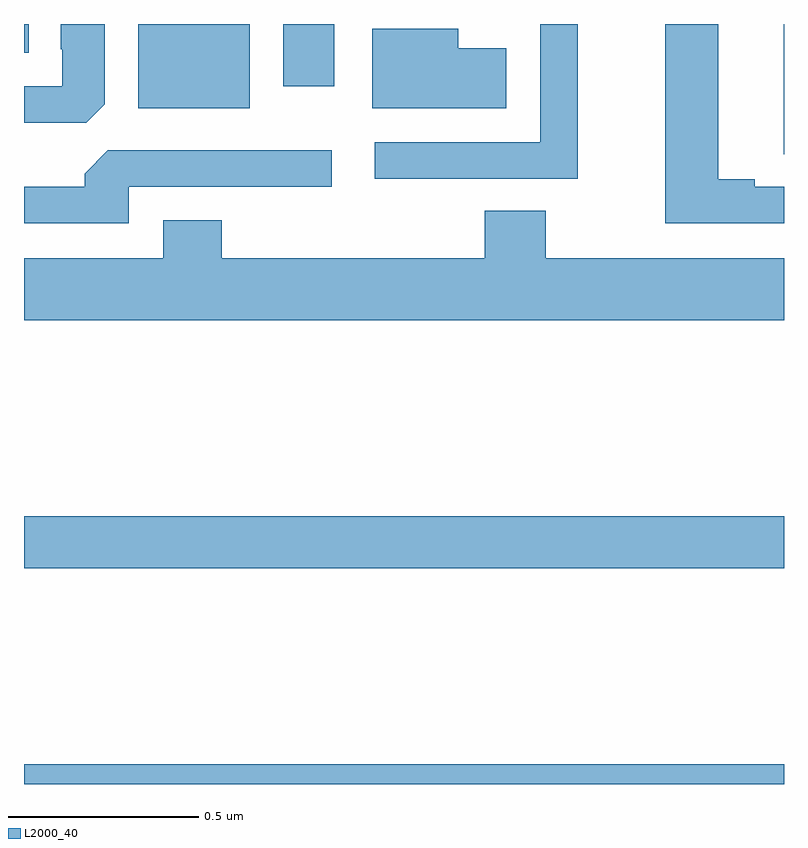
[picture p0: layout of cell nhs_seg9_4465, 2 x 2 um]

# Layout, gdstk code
import gdstk
lib = gdstk.Library(unit=1e-6, precision=1e-09)
def R(c, l, rs):  # rectangles x0, y0, x1, y1
    for r in rs: c.add(gdstk.rectangle(r[:2], r[2:], *l))
def P(c, l, *ps):  # polygons
    for p in ps: c.add(gdstk.Polygon(p, *l))
L2000_40 = (2000, 40)

nhs_seg9_4465 = lib.new_cell('nhs_seg9_4465')
R(nhs_seg9_4465, L2000_40, [(166,1228.5,168,1228.552), (166,1229.068,168,1229.204), (167.999,1230.157,168,1230.5), (166.301,1230.278,166.594,1230.5), (166.682,1230.336,166.816,1230.5), (166,1230.425,166.012,1230.5)])
P(nhs_seg9_4465, L2000_40, [(168,1230.072),(167.923,1230.072),(167.923,1230.092),(167.827,1230.092),(167.827,1230.5),(167.687,1230.5),(167.687,1229.976),(168,1229.976)],
  [(166.213,1230.289),(166.213,1230.5),(166.097,1230.5),(166.097,1230.433),(166.101,1230.433),(166.101,1230.336),(166,1230.336),(166,1230.24),(166.164,1230.24)],
  [(167.457,1230.5),(167.358,1230.5),(167.358,1230.189),(166.923,1230.189),(166.923,1230.093),(167.457,1230.093)],
  [(167.269,1230.436),(167.143,1230.436),(167.143,1230.487),(166.916,1230.487),(166.916,1230.278),(167.269,1230.278)],
  [(166.275,1230.072),(166.81,1230.072),(166.81,1230.168),(166.221,1230.168),(166.16,1230.106),(166.16,1230.072),(166,1230.072),(166,1229.976),(166.275,1229.976)],
  [(168,1229.884),(167.373,1229.884),(167.373,1230.008),(167.213,1230.008),(167.213,1229.884),(166.52,1229.884),(166.52,1229.983),(166.367,1229.983),(166.367,1229.884),(166,1229.884),(166,1229.72),(168,1229.72)])

lib.write_gds('nhs_seg9_4465.gds')
